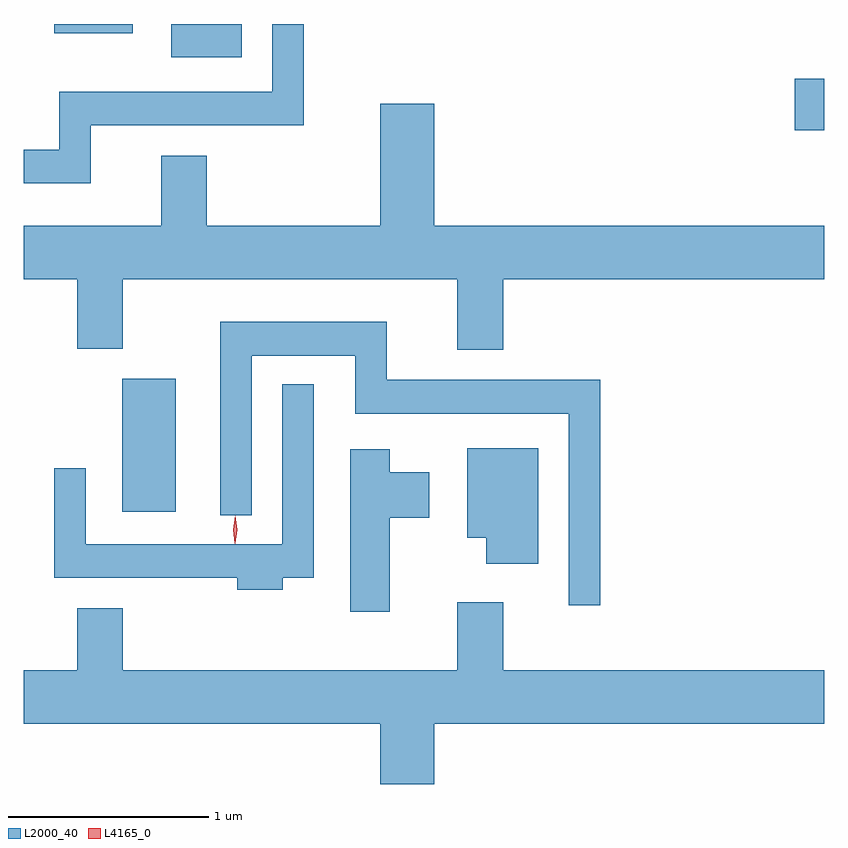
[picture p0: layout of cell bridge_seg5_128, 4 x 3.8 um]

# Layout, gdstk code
import gdstk
lib = gdstk.Library(unit=1e-6, precision=1e-09)
def R(c, l, rs):  # rectangles x0, y0, x1, y1
    for r in rs: c.add(gdstk.rectangle(r[:2], r[2:], *l))
def P(c, l, *ps):  # polygons
    for p in ps: c.add(gdstk.Polygon(p, *l))
L2000_40 = (2000, 40)
L4165_0 = (4165, 0)

bridge_seg5_128 = lib.new_cell('bridge_seg5_128')
R(bridge_seg5_128, L2000_40, [(1192.806,1420.116,1193.074,1420.779), (1196.166,1422.021,1196.314,1422.279), (1193.051,1422.386,1193.404,1422.552), (1192.466,1422.506,1192.859,1422.552)])
P(bridge_seg5_128, L2000_40, [(1192.649,1422.046),(1193.714,1422.046),(1193.714,1422.552),(1193.556,1422.552),(1193.556,1422.214),(1192.491,1422.214),(1192.491,1421.924),(1192.314,1421.924),(1192.314,1421.756),(1192.649,1421.756)],
  [(1194.709,1421.276),(1196.314,1421.276),(1196.314,1421.544),(1194.364,1421.544),(1194.364,1422.154),(1194.096,1422.154),(1194.096,1421.544),(1193.229,1421.544),(1193.229,1421.894),(1193.001,1421.894),(1193.001,1421.544),(1192.314,1421.544),(1192.314,1421.276),(1192.581,1421.276),(1192.581,1420.931),(1192.809,1420.931),(1192.809,1421.276),(1194.481,1421.276),(1194.481,1420.926),(1194.709,1420.926)],
  [(1195.194,1420.774),(1194.129,1420.774),(1194.129,1421.064),(1193.296,1421.064),(1193.296,1420.098),(1193.454,1420.098),(1193.454,1420.896),(1193.971,1420.896),(1193.971,1420.606),(1195.036,1420.606),(1195.036,1419.648),(1195.194,1419.648)],
  [(1193.609,1419.786),(1193.764,1419.786),(1193.764,1420.753),(1193.606,1420.753),(1193.606,1419.954),(1192.624,1419.954),(1192.624,1420.333),(1192.466,1420.333),(1192.466,1419.786),(1193.381,1419.786),(1193.381,1419.726),(1193.609,1419.726)],
  [(1194.884,1420.434),(1194.531,1420.434),(1194.531,1419.986),(1194.626,1419.986),(1194.626,1419.856),(1194.884,1419.856)],
  [(1194.144,1420.086),(1194.339,1420.086),(1194.339,1420.314),(1194.144,1420.314),(1194.144,1420.429),(1193.946,1420.429),(1193.946,1419.616),(1194.144,1419.616)],
  [(1194.364,1419.056),(1196.314,1419.056),(1196.314,1419.324),(1194.709,1419.324),(1194.709,1419.664),(1194.481,1419.664),(1194.481,1419.324),(1192.809,1419.324),(1192.809,1419.634),(1192.581,1419.634),(1192.581,1419.324),(1192.314,1419.324),(1192.314,1419.056),(1194.096,1419.056),(1194.096,1418.756),(1194.364,1418.756)])
P(bridge_seg5_128, L4165_0, [(1193.37,1419.96),(1193.37,1419.96),(1193.361,1420.026),(1193.371,1420.092),(1193.372,1420.093),(1193.372,1420.092),(1193.381,1420.026),(1193.371,1419.96)],
  [(1193.37,1419.957),(1193.369,1419.958),(1193.361,1420.027),(1193.371,1420.096),(1193.372,1420.096),(1193.372,1420.096),(1193.381,1420.027),(1193.37,1419.958)])

lib.write_gds('bridge_seg5_128.gds')
